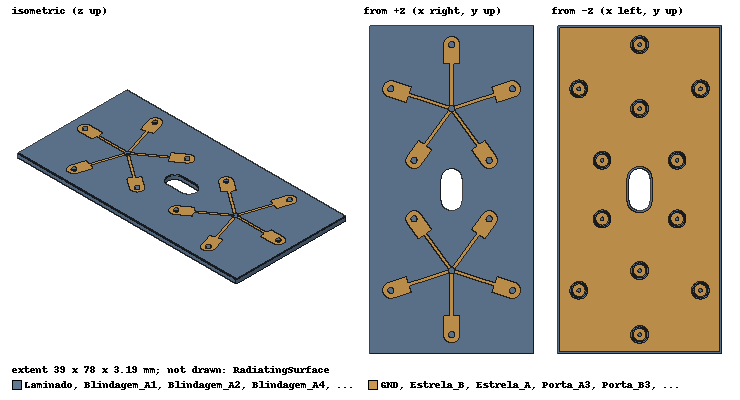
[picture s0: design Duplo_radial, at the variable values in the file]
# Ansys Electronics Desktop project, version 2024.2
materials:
  vacuum: permittivity=1
  ZYF300CA_C: permittivity=2.94 dielectric_loss_tangent=0.0016
  SAC305: permeability=1 conductivity=7575758
  PTFE_UT141: permittivity=2.036 dielectric_loss_tangent=0.0002
  copper: permeability=0.999991 conductivity=58000000
  NiP_estimado: permeability=1 conductivity=1500000
  Ouro_nom: permeability=1 conductivity=41000000
  Cobre_Groiss_equivalente: permeability=1 conductivity=28688604

design Duplo_radial (HFSS, HFSS Hybrid Modal Network, model units mm)
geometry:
  Laminado [ZYF300CA_C] = box(corner=(-19.5mm, -39mm, 0mm), size=(39mm, 78mm, 1.52mm))
  GND = polyline(z=0mm, xy in mm: (-18.98, -38.48) (18.98, -38.48) (18.98, 38.48) (-18.98, 38.48) (-18.98, -38.48), closed, covered)
  Estrela_B = polyline(z=1.52mm, xy in mm: (-7.96633583, 5.2763165) (-8.19346071, 5.16431091) (-8.43326216, 5.08290929) (-8.68163713, 5.03350443) (-8.93433583, 5.01694169) (-9.18703454, 5.03350443) (-9.43540951, 5.08290929) (-9.67521096, 5.16431091) (-9.90233583, 5.2763165) (-10.11289796, 5.41700962) (-10.30329456, 5.58398296) (-10.4702679, 5.77437956) (-10.61096102, 5.98494169) (-10.72296661, 6.21206656) (-10.80436823, 6.45186801) (-10.85377309, 6.70024298) (-10.87033583, 6.95294169) (-10.85377309, 7.20564039) (-10.80436823, 7.45401536) (-10.72296661, 7.69381681) (-10.61096102, 7.92094169) (-10.49844513, 8.08933361) (-10.50059274, 8.09089393) (-7.85732246, 11.72904336) (-6.59242439, 10.81004112) (-0.75612983, 18.84301143) (-0.7945364, 18.92089225) (-0.83069621, 19.02741562) (-0.85213714, 19.13520646) (-10.29426672, 22.20314034) (-10.7774148, 20.71616348) (-15.05431595, 22.1058129) (-15.05308618, 22.10959773) (-15.19693417, 22.15842754) (-15.42405905, 22.27043313) (-15.63462117, 22.41112625) (-15.82501778, 22.57809959) (-15.99199111, 22.76849619) (-16.13268423, 22.97905831) (-16.24468982, 23.20618319) (-16.32609145, 23.44598464) (-16.3754963, 23.69435961) (-16.39205905, 23.94705831) (-16.3754963, 24.19975702) (-16.32609145, 24.44813199) (-16.24468982, 24.68793344) (-16.13268423, 24.91505831) (-15.99199111, 25.12562044) (-15.82501778, 25.31601704) (-15.63462117, 25.48299038) (-15.42405905, 25.6236835) (-15.19693417, 25.73568909) (-14.95713272, 25.81709071) (-14.70875776, 25.86649557) (-14.45605905, 25.88305831) (-14.20336034, 25.86649557) (-13.95498538, 25.81709071) (-13.85903191, 25.7845189) (-13.85780215, 25.78830373) (-9.58090099, 24.39865431) (-10.06404906, 22.91167744) (-0.62098013, 19.84343835) (-0.60811183, 19.85811183) (-0.52353483, 19.93228387) (-0.43, 19.99478185) (-0.3725, 20.02313771) (-0.3725, 29.953) (-1.936, 29.953) (-1.936, 34.45) (-1.91943725, 34.70269871) (-1.8700324, 34.95107367) (-1.78863077, 35.19087513) (-1.67662518, 35.418) (-1.53593207, 35.62856213) (-1.36895873, 35.81895873) (-1.17856213, 35.98593207) (-0.968, 36.12662518) (-0.74087513, 36.23863077) (-0.50107367, 36.3200324) (-0.25269871, 36.36943725) (0, 36.386) (0.25269871, 36.36943725) (0.50107367, 36.3200324) (0.74087513, 36.23863077) (0.968, 36.12662518) (1.17856213, 35.98593207) (1.36895873, 35.81895873) (1.53593207, 35.62856213) (1.67662518, 35.418) (1.78863077, 35.19087513) (1.8700324, 34.95107367) (1.91943725, 34.70269871) (1.936, 34.45) (1.936, 29.953) (0.3725, 29.953) (0.3725, 20.02313771) (0.43, 19.99478185) (0.52353483, 19.93228387) (0.60811183, 19.85811183) (0.62098013, 19.84343835) (10.06404906, 22.91167744) (9.58090099, 24.39865431) (13.85780215, 25.78830373) (13.85903191, 25.7845189) (13.95498538, 25.81709071) (14.20336034, 25.86649557) (14.45605905, 25.88305831) (14.70875776, 25.86649557) (14.95713272, 25.81709071) (15.19693417, 25.73568909) (15.42405905, 25.6236835) (15.63462117, 25.48299038) (15.82501778, 25.31601704) (15.99199111, 25.12562044) (16.13268423, 24.91505831) (16.24468982, 24.68793344) (16.32609145, 24.44813199) (16.3754963, 24.19975702) (16.39205905, 23.94705831) (16.3754963, 23.69435961) (16.32609145, 23.44598464) (16.24468982, 23.20618319) (16.13268423, 22.97905831) (15.99199111, 22.76849619) (15.82501778, 22.57809959) (15.63462117, 22.41112625) (15.42405905, 22.27043313) (15.19693417, 22.15842754) (15.05308618, 22.10959773) (15.05431595, 22.1058129) (10.7774148, 20.71616348) (10.29426672, 22.20314034) (0.85213714, 19.13520646) (0.83069621, 19.02741562) (0.7945364, 18.92089225) (0.75612983, 18.84301143) (6.59242439, 10.81004112) (7.85732246, 11.72904336) (10.50059274, 8.09089393) (10.49844513, 8.08933361) (10.61096102, 7.92094169) (10.72296661, 7.69381681) (10.80436823, 7.45401536) (10.85377309, 7.20564039) (10.87033583, 6.95294169) (10.85377309, 6.70024298) (10.80436823, 6.45186801) (10.72296661, 6.21206656) (10.61096102, 5.98494169) (10.4702679, 5.77437956) (10.30329456, 5.58398296) (10.11289796, 5.41700962) (9.90233583, 5.2763165) (9.67521096, 5.16431091) (9.43540951, 5.08290929) (9.18703454, 5.03350443) (8.93433583, 5.01694169) (8.68163713, 5.03350443) (8.43326216, 5.08290929) (8.19346071, 5.16431091) (7.96633583, 5.2763165) (7.75577371, 5.41700962) (7.56537711, 5.58398296) (7.39840377, 5.77437956) (7.37022654, 5.81654976) (7.36807893, 5.81498944) (4.72480865, 9.45313886) (5.98970672, 10.3721411) (0.15313719, 18.40548989) (0.11225253, 18.39735742) (0, 18.39) (-0.11225253, 18.39735742) (-0.15313719, 18.40548989) (-5.98970672, 10.3721411) (-4.72480865, 9.45313886) (-7.36807893, 5.81498944) (-7.37022654, 5.81654976) (-7.39840377, 5.77437956) (-7.56537711, 5.58398296) (-7.75577371, 5.41700962) (-7.96633583, 5.2763165), closed, covered)
  Estrela_A = polyline(z=1.52mm, xy in mm: (-0.3725, -20.02313771) (-0.43, -19.99478185) (-0.52353483, -19.93228387) (-0.60811183, -19.85811183) (-0.62098013, -19.84343835) (-10.06404906, -22.91167744) (-9.58090099, -24.39865431) (-13.85780215, -25.78830373) (-13.85903191, -25.7845189) (-13.95498538, -25.81709071) (-14.20336034, -25.86649557) (-14.45605905, -25.88305831) (-14.70875776, -25.86649557) (-14.95713272, -25.81709071) (-15.19693417, -25.73568909) (-15.42405905, -25.6236835) (-15.63462117, -25.48299038) (-15.82501778, -25.31601704) (-15.99199111, -25.12562044) (-16.13268423, -24.91505831) (-16.24468982, -24.68793344) (-16.32609145, -24.44813199) (-16.3754963, -24.19975702) (-16.39205905, -23.94705831) (-16.3754963, -23.69435961) (-16.32609145, -23.44598464) (-16.24468982, -23.20618319) (-16.13268423, -22.97905831) (-15.99199111, -22.76849619) (-15.82501778, -22.57809959) (-15.63462117, -22.41112625) (-15.42405905, -22.27043313) (-15.19693417, -22.15842754) (-15.05308618, -22.10959773) (-15.05431595, -22.1058129) (-10.7774148, -20.71616348) (-10.29426672, -22.20314034) (-0.85213714, -19.13520646) (-0.83069621, -19.02741562) (-0.7945364, -18.92089225) (-0.75612983, -18.84301143) (-6.59242439, -10.81004112) (-7.85732246, -11.72904336) (-10.50059274, -8.09089393) (-10.49844513, -8.08933361) (-10.61096102, -7.92094169) (-10.72296661, -7.69381681) (-10.80436823, -7.45401536) (-10.85377309, -7.20564039) (-10.87033583, -6.95294169) (-10.85377309, -6.70024298) (-10.80436823, -6.45186801) (-10.72296661, -6.21206656) (-10.61096102, -5.98494169) (-10.4702679, -5.77437956) (-10.30329456, -5.58398296) (-10.11289796, -5.41700962) (-9.90233583, -5.2763165) (-9.67521096, -5.16431091) (-9.43540951, -5.08290929) (-9.18703454, -5.03350443) (-8.93433583, -5.01694169) (-8.68163713, -5.03350443) (-8.43326216, -5.08290929) (-8.19346071, -5.16431091) (-7.96633583, -5.2763165) (-7.75577371, -5.41700962) (-7.56537711, -5.58398296) (-7.39840377, -5.77437956) (-7.37022654, -5.81654976) (-7.36807893, -5.81498944) (-4.72480865, -9.45313886) (-5.98970672, -10.3721411) (-0.15313719, -18.40548989) (-0.11225253, -18.39735742) (0, -18.39) (0.11225253, -18.39735742) (0.15313719, -18.40548989) (5.98970672, -10.3721411) (4.72480865, -9.45313886) (7.36807893, -5.81498944) (7.37022654, -5.81654976) (7.39840377, -5.77437956) (7.56537711, -5.58398296) (7.75577371, -5.41700962) (7.96633583, -5.2763165) (8.19346071, -5.16431091) (8.43326216, -5.08290929) (8.68163713, -5.03350443) (8.93433583, -5.01694169) (9.18703454, -5.03350443) (9.43540951, -5.08290929) (9.67521096, -5.16431091) (9.90233583, -5.2763165) (10.11289796, -5.41700962) (10.30329456, -5.58398296) (10.4702679, -5.77437956) (10.61096102, -5.98494169) (10.72296661, -6.21206656) (10.80436823, -6.45186801) (10.85377309, -6.70024298) (10.87033583, -6.95294169) (10.85377309, -7.20564039) (10.80436823, -7.45401536) (10.72296661, -7.69381681) (10.61096102, -7.92094169) (10.49844513, -8.08933361) (10.50059274, -8.09089393) (7.85732246, -11.72904336) (6.59242439, -10.81004112) (0.75612983, -18.84301143) (0.7945364, -18.92089225) (0.83069621, -19.02741562) (0.85213714, -19.13520646) (10.29426672, -22.20314034) (10.7774148, -20.71616348) (15.05431595, -22.1058129) (15.05308618, -22.10959773) (15.19693417, -22.15842754) (15.42405905, -22.27043313) (15.63462117, -22.41112625) (15.82501778, -22.57809959) (15.99199111, -22.76849619) (16.13268423, -22.97905831) (16.24468982, -23.20618319) (16.32609145, -23.44598464) (16.3754963, -23.69435961) (16.39205905, -23.94705831) (16.3754963, -24.19975702) (16.32609145, -24.44813199) (16.24468982, -24.68793344) (16.13268423, -24.91505831) (15.99199111, -25.12562044) (15.82501778, -25.31601704) (15.63462117, -25.48299038) (15.42405905, -25.6236835) (15.19693417, -25.73568909) (14.95713272, -25.81709071) (14.70875776, -25.86649557) (14.45605905, -25.88305831) (14.20336034, -25.86649557) (13.95498538, -25.81709071) (13.85903191, -25.7845189) (13.85780215, -25.78830373) (9.58090099, -24.39865431) (10.06404906, -22.91167744) (0.62098013, -19.84343835) (0.60811183, -19.85811183) (0.52353483, -19.93228387) (0.43, -19.99478185) (0.3725, -20.02313771) (0.3725, -29.953) (1.936, -29.953) (1.936, -34.45) (1.91943725, -34.70269871) (1.8700324, -34.95107367) (1.78863077, -35.19087513) (1.67662518, -35.418) (1.53593207, -35.62856213) (1.36895873, -35.81895873) (1.17856213, -35.98593207) (0.968, -36.12662518) (0.74087513, -36.23863077) (0.50107367, -36.3200324) (0.25269871, -36.36943725) (0, -36.386) (-0.25269871, -36.36943725) (-0.50107367, -36.3200324) (-0.74087513, -36.23863077) (-0.968, -36.12662518) (-1.17856213, -35.98593207) (-1.36895873, -35.81895873) (-1.53593207, -35.62856213) (-1.67662518, -35.418) (-1.78863077, -35.19087513) (-1.8700324, -34.95107367) (-1.91943725, -34.70269871) (-1.936, -34.45) (-1.936, -29.953) (-0.3725, -29.953) (-0.3725, -20.02313771), closed, covered)
  Abertura_A_IN = circle(normal=Z, centre=(0mm, -19.25mm, 0mm), radius=1.515mm, segments=24)
  Pino_A_IN [copper] = cylinder(axis=Z, base_centre=(0mm, -19.25mm, 0mm), radius=0.525mm, height=1.52mm, segments=24)
  Anel_A_IN = circle(normal=Z, centre=(0mm, -19.25mm, 0mm), radius=0.73mm, segments=24)
  Blindagem_A_IN [copper] = cylinder(axis=Z, base_centre=(0mm, -19.25mm, -1.5mm), radius=1.7905mm, height=1.5mm, segments=24)
  PTFE_A_IN [PTFE_UT141] = cylinder(axis=Z, base_centre=(0mm, -19.25mm, -1.5mm), radius=1.515mm, height=1.5mm, segments=24)
  PTFE_A_IN_1 = PTFE_A_IN.copy()
  Blindagem_A_IN.subtract(PTFE_A_IN_1)
  Central_A_IN [copper] = cylinder(axis=Z, base_centre=(0mm, -19.25mm, -1.5mm), radius=0.45975mm, height=1.5mm, segments=24)
  Central_A_IN_1 = Central_A_IN.copy()
  PTFE_A_IN.subtract(Central_A_IN_1)
  Solda_ext_A_IN [SAC305] = cylinder(axis=Z, base_centre=(0mm, -19.25mm, -0.18mm), radius=2.13mm, height=0.18mm, segments=24)
  Recorte_ext_A_IN = cylinder(axis=Z, base_centre=(0mm, -19.25mm, -0.18mm), radius=1.7905mm, height=0.18mm, segments=24)
  Solda_ext_A_IN.subtract(Recorte_ext_A_IN)
  Solda_top_A_IN [SAC305] = cylinder(axis=Z, base_centre=(0mm, -19.25mm, 1.52mm), radius=0.74mm, height=0.17mm, segments=24)
  Abertura_A1 = circle(normal=Z, centre=(-14.45605905mm, -23.94705831mm, 0mm), radius=1.515mm, segments=24)
  Pino_A1 [copper] = cylinder(axis=Z, base_centre=(-14.45605905mm, -23.94705831mm, 0mm), radius=0.525mm, height=1.52mm, segments=24)
  Anel_A1 = circle(normal=Z, centre=(-14.45605905mm, -23.94705831mm, 0mm), radius=0.73mm, segments=24)
  Blindagem_A1 [copper] = cylinder(axis=Z, base_centre=(-14.45605905mm, -23.94705831mm, -1.5mm), radius=1.7905mm, height=1.5mm, segments=24)
  PTFE_A1 [PTFE_UT141] = cylinder(axis=Z, base_centre=(-14.45605905mm, -23.94705831mm, -1.5mm), radius=1.515mm, height=1.5mm, segments=24)
  PTFE_A1_1 = PTFE_A1.copy()
  Blindagem_A1.subtract(PTFE_A1_1)
  Central_A1 [copper] = cylinder(axis=Z, base_centre=(-14.45605905mm, -23.94705831mm, -1.5mm), radius=0.45975mm, height=1.5mm, segments=24)
  Central_A1_1 = Central_A1.copy()
  PTFE_A1.subtract(Central_A1_1)
  Solda_ext_A1 [SAC305] = cylinder(axis=Z, base_centre=(-14.45605905mm, -23.94705831mm, -0.18mm), radius=2.13mm, height=0.18mm, segments=24)
  Recorte_ext_A1 = cylinder(axis=Z, base_centre=(-14.45605905mm, -23.94705831mm, -0.18mm), radius=1.7905mm, height=0.18mm, segments=24)
  Solda_ext_A1.subtract(Recorte_ext_A1)
  Solda_top_A1 [SAC305] = cylinder(axis=Z, base_centre=(-14.45605905mm, -23.94705831mm, 1.52mm), radius=0.74mm, height=0.17mm, segments=24)
  Abertura_A2 = circle(normal=Z, centre=(-8.93433583mm, -6.95294169mm, 0mm), radius=1.515mm, segments=24)
  Pino_A2 [copper] = cylinder(axis=Z, base_centre=(-8.93433583mm, -6.95294169mm, 0mm), radius=0.525mm, height=1.52mm, segments=24)
  Anel_A2 = circle(normal=Z, centre=(-8.93433583mm, -6.95294169mm, 0mm), radius=0.73mm, segments=24)
  Blindagem_A2 [copper] = cylinder(axis=Z, base_centre=(-8.93433583mm, -6.95294169mm, -1.5mm), radius=1.7905mm, height=1.5mm, segments=24)
  PTFE_A2 [PTFE_UT141] = cylinder(axis=Z, base_centre=(-8.93433583mm, -6.95294169mm, -1.5mm), radius=1.515mm, height=1.5mm, segments=24)
  PTFE_A2_1 = PTFE_A2.copy()
  Blindagem_A2.subtract(PTFE_A2_1)
  Central_A2 [copper] = cylinder(axis=Z, base_centre=(-8.93433583mm, -6.95294169mm, -1.5mm), radius=0.45975mm, height=1.5mm, segments=24)
  Central_A2_1 = Central_A2.copy()
  PTFE_A2.subtract(Central_A2_1)
  Solda_ext_A2 [SAC305] = cylinder(axis=Z, base_centre=(-8.93433583mm, -6.95294169mm, -0.18mm), radius=2.13mm, height=0.18mm, segments=24)
  Recorte_ext_A2 = cylinder(axis=Z, base_centre=(-8.93433583mm, -6.95294169mm, -0.18mm), radius=1.7905mm, height=0.18mm, segments=24)
  Solda_ext_A2.subtract(Recorte_ext_A2)
  Solda_top_A2 [SAC305] = cylinder(axis=Z, base_centre=(-8.93433583mm, -6.95294169mm, 1.52mm), radius=0.74mm, height=0.17mm, segments=24)
  Abertura_A3 = circle(normal=Z, centre=(0mm, -34.45mm, 0mm), radius=1.515mm, segments=24)
  Pino_A3 [copper] = cylinder(axis=Z, base_centre=(0mm, -34.45mm, 0mm), radius=0.525mm, height=1.52mm, segments=24)
  Anel_A3 = circle(normal=Z, centre=(0mm, -34.45mm, 0mm), radius=0.73mm, segments=24)
  Blindagem_A3 [copper] = cylinder(axis=Z, base_centre=(0mm, -34.45mm, -1.5mm), radius=1.7905mm, height=1.5mm, segments=24)
  PTFE_A3 [PTFE_UT141] = cylinder(axis=Z, base_centre=(0mm, -34.45mm, -1.5mm), radius=1.515mm, height=1.5mm, segments=24)
  PTFE_A3_1 = PTFE_A3.copy()
  Blindagem_A3.subtract(PTFE_A3_1)
  Central_A3 [copper] = cylinder(axis=Z, base_centre=(0mm, -34.45mm, -1.5mm), radius=0.45975mm, height=1.5mm, segments=24)
  Central_A3_1 = Central_A3.copy()
  PTFE_A3.subtract(Central_A3_1)
  Solda_ext_A3 [SAC305] = cylinder(axis=Z, base_centre=(0mm, -34.45mm, -0.18mm), radius=2.13mm, height=0.18mm, segments=24)
  Recorte_ext_A3 = cylinder(axis=Z, base_centre=(0mm, -34.45mm, -0.18mm), radius=1.7905mm, height=0.18mm, segments=24)
  Solda_ext_A3.subtract(Recorte_ext_A3)
  Solda_top_A3 [SAC305] = cylinder(axis=Z, base_centre=(0mm, -34.45mm, 1.52mm), radius=0.74mm, height=0.17mm, segments=24)
  Abertura_A4 = circle(normal=Z, centre=(8.93433583mm, -6.95294169mm, 0mm), radius=1.515mm, segments=24)
  Pino_A4 [copper] = cylinder(axis=Z, base_centre=(8.93433583mm, -6.95294169mm, 0mm), radius=0.525mm, height=1.52mm, segments=24)
  Anel_A4 = circle(normal=Z, centre=(8.93433583mm, -6.95294169mm, 0mm), radius=0.73mm, segments=24)
  Blindagem_A4 [copper] = cylinder(axis=Z, base_centre=(8.93433583mm, -6.95294169mm, -1.5mm), radius=1.7905mm, height=1.5mm, segments=24)
  PTFE_A4 [PTFE_UT141] = cylinder(axis=Z, base_centre=(8.93433583mm, -6.95294169mm, -1.5mm), radius=1.515mm, height=1.5mm, segments=24)
  PTFE_A4_1 = PTFE_A4.copy()
  Blindagem_A4.subtract(PTFE_A4_1)
  Central_A4 [copper] = cylinder(axis=Z, base_centre=(8.93433583mm, -6.95294169mm, -1.5mm), radius=0.45975mm, height=1.5mm, segments=24)
  Central_A4_1 = Central_A4.copy()
  PTFE_A4.subtract(Central_A4_1)
  Solda_ext_A4 [SAC305] = cylinder(axis=Z, base_centre=(8.93433583mm, -6.95294169mm, -0.18mm), radius=2.13mm, height=0.18mm, segments=24)
  Recorte_ext_A4 = cylinder(axis=Z, base_centre=(8.93433583mm, -6.95294169mm, -0.18mm), radius=1.7905mm, height=0.18mm, segments=24)
  Solda_ext_A4.subtract(Recorte_ext_A4)
  Solda_top_A4 [SAC305] = cylinder(axis=Z, base_centre=(8.93433583mm, -6.95294169mm, 1.52mm), radius=0.74mm, height=0.17mm, segments=24)
  Abertura_A5 = circle(normal=Z, centre=(14.45605905mm, -23.94705831mm, 0mm), radius=1.515mm, segments=24)
  Pino_A5 [copper] = cylinder(axis=Z, base_centre=(14.45605905mm, -23.94705831mm, 0mm), radius=0.525mm, height=1.52mm, segments=24)
  Anel_A5 = circle(normal=Z, centre=(14.45605905mm, -23.94705831mm, 0mm), radius=0.73mm, segments=24)
  Blindagem_A5 [copper] = cylinder(axis=Z, base_centre=(14.45605905mm, -23.94705831mm, -1.5mm), radius=1.7905mm, height=1.5mm, segments=24)
  PTFE_A5 [PTFE_UT141] = cylinder(axis=Z, base_centre=(14.45605905mm, -23.94705831mm, -1.5mm), radius=1.515mm, height=1.5mm, segments=24)
  PTFE_A5_1 = PTFE_A5.copy()
  Blindagem_A5.subtract(PTFE_A5_1)
  Central_A5 [copper] = cylinder(axis=Z, base_centre=(14.45605905mm, -23.94705831mm, -1.5mm), radius=0.45975mm, height=1.5mm, segments=24)
  Central_A5_1 = Central_A5.copy()
  PTFE_A5.subtract(Central_A5_1)
  Solda_ext_A5 [SAC305] = cylinder(axis=Z, base_centre=(14.45605905mm, -23.94705831mm, -0.18mm), radius=2.13mm, height=0.18mm, segments=24)
  Recorte_ext_A5 = cylinder(axis=Z, base_centre=(14.45605905mm, -23.94705831mm, -0.18mm), radius=1.7905mm, height=0.18mm, segments=24)
  Solda_ext_A5.subtract(Recorte_ext_A5)
  Solda_top_A5 [SAC305] = cylinder(axis=Z, base_centre=(14.45605905mm, -23.94705831mm, 1.52mm), radius=0.74mm, height=0.17mm, segments=24)
  Abertura_B_IN = circle(normal=Z, centre=(0mm, 19.25mm, 0mm), radius=1.515mm, segments=24)
  Pino_B_IN [copper] = cylinder(axis=Z, base_centre=(0mm, 19.25mm, 0mm), radius=0.525mm, height=1.52mm, segments=24)
  Anel_B_IN = circle(normal=Z, centre=(0mm, 19.25mm, 0mm), radius=0.73mm, segments=24)
  Blindagem_B_IN [copper] = cylinder(axis=Z, base_centre=(0mm, 19.25mm, -1.5mm), radius=1.7905mm, height=1.5mm, segments=24)
  PTFE_B_IN [PTFE_UT141] = cylinder(axis=Z, base_centre=(0mm, 19.25mm, -1.5mm), radius=1.515mm, height=1.5mm, segments=24)
  PTFE_B_IN_1 = PTFE_B_IN.copy()
  Blindagem_B_IN.subtract(PTFE_B_IN_1)
  Central_B_IN [copper] = cylinder(axis=Z, base_centre=(0mm, 19.25mm, -1.5mm), radius=0.45975mm, height=1.5mm, segments=24)
  Central_B_IN_1 = Central_B_IN.copy()
  PTFE_B_IN.subtract(Central_B_IN_1)
  Solda_ext_B_IN [SAC305] = cylinder(axis=Z, base_centre=(0mm, 19.25mm, -0.18mm), radius=2.13mm, height=0.18mm, segments=24)
  Recorte_ext_B_IN = cylinder(axis=Z, base_centre=(0mm, 19.25mm, -0.18mm), radius=1.7905mm, height=0.18mm, segments=24)
  Solda_ext_B_IN.subtract(Recorte_ext_B_IN)
  Solda_top_B_IN [SAC305] = cylinder(axis=Z, base_centre=(0mm, 19.25mm, 1.52mm), radius=0.74mm, height=0.17mm, segments=24)
  Abertura_B1 = circle(normal=Z, centre=(-14.45605905mm, 23.94705831mm, 0mm), radius=1.515mm, segments=24)
  Pino_B1 [copper] = cylinder(axis=Z, base_centre=(-14.45605905mm, 23.94705831mm, 0mm), radius=0.525mm, height=1.52mm, segments=24)
  Anel_B1 = circle(normal=Z, centre=(-14.45605905mm, 23.94705831mm, 0mm), radius=0.73mm, segments=24)
  Blindagem_B1 [copper] = cylinder(axis=Z, base_centre=(-14.45605905mm, 23.94705831mm, -1.5mm), radius=1.7905mm, height=1.5mm, segments=24)
  PTFE_B1 [PTFE_UT141] = cylinder(axis=Z, base_centre=(-14.45605905mm, 23.94705831mm, -1.5mm), radius=1.515mm, height=1.5mm, segments=24)
  PTFE_B1_1 = PTFE_B1.copy()
  Blindagem_B1.subtract(PTFE_B1_1)
  Central_B1 [copper] = cylinder(axis=Z, base_centre=(-14.45605905mm, 23.94705831mm, -1.5mm), radius=0.45975mm, height=1.5mm, segments=24)
  Central_B1_1 = Central_B1.copy()
  PTFE_B1.subtract(Central_B1_1)
  Solda_ext_B1 [SAC305] = cylinder(axis=Z, base_centre=(-14.45605905mm, 23.94705831mm, -0.18mm), radius=2.13mm, height=0.18mm, segments=24)
  Recorte_ext_B1 = cylinder(axis=Z, base_centre=(-14.45605905mm, 23.94705831mm, -0.18mm), radius=1.7905mm, height=0.18mm, segments=24)
  Solda_ext_B1.subtract(Recorte_ext_B1)
  Solda_top_B1 [SAC305] = cylinder(axis=Z, base_centre=(-14.45605905mm, 23.94705831mm, 1.52mm), radius=0.74mm, height=0.17mm, segments=24)
  Abertura_B2 = circle(normal=Z, centre=(-8.93433583mm, 6.95294169mm, 0mm), radius=1.515mm, segments=24)
  Pino_B2 [copper] = cylinder(axis=Z, base_centre=(-8.93433583mm, 6.95294169mm, 0mm), radius=0.525mm, height=1.52mm, segments=24)
  Anel_B2 = circle(normal=Z, centre=(-8.93433583mm, 6.95294169mm, 0mm), radius=0.73mm, segments=24)
  Blindagem_B2 [copper] = cylinder(axis=Z, base_centre=(-8.93433583mm, 6.95294169mm, -1.5mm), radius=1.7905mm, height=1.5mm, segments=24)
  PTFE_B2 [PTFE_UT141] = cylinder(axis=Z, base_centre=(-8.93433583mm, 6.95294169mm, -1.5mm), radius=1.515mm, height=1.5mm, segments=24)
  PTFE_B2_1 = PTFE_B2.copy()
  Blindagem_B2.subtract(PTFE_B2_1)
  Central_B2 [copper] = cylinder(axis=Z, base_centre=(-8.93433583mm, 6.95294169mm, -1.5mm), radius=0.45975mm, height=1.5mm, segments=24)
  Central_B2_1 = Central_B2.copy()
  PTFE_B2.subtract(Central_B2_1)
  Solda_ext_B2 [SAC305] = cylinder(axis=Z, base_centre=(-8.93433583mm, 6.95294169mm, -0.18mm), radius=2.13mm, height=0.18mm, segments=24)
  Recorte_ext_B2 = cylinder(axis=Z, base_centre=(-8.93433583mm, 6.95294169mm, -0.18mm), radius=1.7905mm, height=0.18mm, segments=24)
  Solda_ext_B2.subtract(Recorte_ext_B2)
  Solda_top_B2 [SAC305] = cylinder(axis=Z, base_centre=(-8.93433583mm, 6.95294169mm, 1.52mm), radius=0.74mm, height=0.17mm, segments=24)
  Abertura_B3 = circle(normal=Z, centre=(0mm, 34.45mm, 0mm), radius=1.515mm, segments=24)
  Pino_B3 [copper] = cylinder(axis=Z, base_centre=(0mm, 34.45mm, 0mm), radius=0.525mm, height=1.52mm, segments=24)
  Anel_B3 = circle(normal=Z, centre=(0mm, 34.45mm, 0mm), radius=0.73mm, segments=24)
  Blindagem_B3 [copper] = cylinder(axis=Z, base_centre=(0mm, 34.45mm, -1.5mm), radius=1.7905mm, height=1.5mm, segments=24)
  PTFE_B3 [PTFE_UT141] = cylinder(axis=Z, base_centre=(0mm, 34.45mm, -1.5mm), radius=1.515mm, height=1.5mm, segments=24)
  PTFE_B3_1 = PTFE_B3.copy()
  Blindagem_B3.subtract(PTFE_B3_1)
  Central_B3 [copper] = cylinder(axis=Z, base_centre=(0mm, 34.45mm, -1.5mm), radius=0.45975mm, height=1.5mm, segments=24)
  Central_B3_1 = Central_B3.copy()
  PTFE_B3.subtract(Central_B3_1)
  Solda_ext_B3 [SAC305] = cylinder(axis=Z, base_centre=(0mm, 34.45mm, -0.18mm), radius=2.13mm, height=0.18mm, segments=24)
  Recorte_ext_B3 = cylinder(axis=Z, base_centre=(0mm, 34.45mm, -0.18mm), radius=1.7905mm, height=0.18mm, segments=24)
  Solda_ext_B3.subtract(Recorte_ext_B3)
  Solda_top_B3 [SAC305] = cylinder(axis=Z, base_centre=(0mm, 34.45mm, 1.52mm), radius=0.74mm, height=0.17mm, segments=24)
  Abertura_B4 = circle(normal=Z, centre=(8.93433583mm, 6.95294169mm, 0mm), radius=1.515mm, segments=24)
  Pino_B4 [copper] = cylinder(axis=Z, base_centre=(8.93433583mm, 6.95294169mm, 0mm), radius=0.525mm, height=1.52mm, segments=24)
  Anel_B4 = circle(normal=Z, centre=(8.93433583mm, 6.95294169mm, 0mm), radius=0.73mm, segments=24)
  Blindagem_B4 [copper] = cylinder(axis=Z, base_centre=(8.93433583mm, 6.95294169mm, -1.5mm), radius=1.7905mm, height=1.5mm, segments=24)
  PTFE_B4 [PTFE_UT141] = cylinder(axis=Z, base_centre=(8.93433583mm, 6.95294169mm, -1.5mm), radius=1.515mm, height=1.5mm, segments=24)
  PTFE_B4_1 = PTFE_B4.copy()
  Blindagem_B4.subtract(PTFE_B4_1)
  Central_B4 [copper] = cylinder(axis=Z, base_centre=(8.93433583mm, 6.95294169mm, -1.5mm), radius=0.45975mm, height=1.5mm, segments=24)
  Central_B4_1 = Central_B4.copy()
  PTFE_B4.subtract(Central_B4_1)
  Solda_ext_B4 [SAC305] = cylinder(axis=Z, base_centre=(8.93433583mm, 6.95294169mm, -0.18mm), radius=2.13mm, height=0.18mm, segments=24)
  Recorte_ext_B4 = cylinder(axis=Z, base_centre=(8.93433583mm, 6.95294169mm, -0.18mm), radius=1.7905mm, height=0.18mm, segments=24)
  Solda_ext_B4.subtract(Recorte_ext_B4)
  Solda_top_B4 [SAC305] = cylinder(axis=Z, base_centre=(8.93433583mm, 6.95294169mm, 1.52mm), radius=0.74mm, height=0.17mm, segments=24)
  Abertura_B5 = circle(normal=Z, centre=(14.45605905mm, 23.94705831mm, 0mm), radius=1.515mm, segments=24)
  Pino_B5 [copper] = cylinder(axis=Z, base_centre=(14.45605905mm, 23.94705831mm, 0mm), radius=0.525mm, height=1.52mm, segments=24)
  Anel_B5 = circle(normal=Z, centre=(14.45605905mm, 23.94705831mm, 0mm), radius=0.73mm, segments=24)
  Blindagem_B5 [copper] = cylinder(axis=Z, base_centre=(14.45605905mm, 23.94705831mm, -1.5mm), radius=1.7905mm, height=1.5mm, segments=24)
  PTFE_B5 [PTFE_UT141] = cylinder(axis=Z, base_centre=(14.45605905mm, 23.94705831mm, -1.5mm), radius=1.515mm, height=1.5mm, segments=24)
  PTFE_B5_1 = PTFE_B5.copy()
  Blindagem_B5.subtract(PTFE_B5_1)
  Central_B5 [copper] = cylinder(axis=Z, base_centre=(14.45605905mm, 23.94705831mm, -1.5mm), radius=0.45975mm, height=1.5mm, segments=24)
  Central_B5_1 = Central_B5.copy()
  PTFE_B5.subtract(Central_B5_1)
  Solda_ext_B5 [SAC305] = cylinder(axis=Z, base_centre=(14.45605905mm, 23.94705831mm, -0.18mm), radius=2.13mm, height=0.18mm, segments=24)
  Recorte_ext_B5 = cylinder(axis=Z, base_centre=(14.45605905mm, 23.94705831mm, -0.18mm), radius=1.7905mm, height=0.18mm, segments=24)
  Solda_ext_B5.subtract(Recorte_ext_B5)
  Solda_top_B5 [SAC305] = cylinder(axis=Z, base_centre=(14.45605905mm, 23.94705831mm, 1.52mm), radius=0.74mm, height=0.17mm, segments=24)
  GND.subtract(Abertura_A_IN, Abertura_A1..Abertura_A5, Abertura_B_IN, Abertura_B1..Abertura_B5)
  Pino_A_IN_1 = Pino_A_IN.copy()
  Pino_A1_1 = Pino_A1.copy()
  Pino_A2_1 = Pino_A2.copy()
  Pino_A3_1 = Pino_A3.copy()
  Pino_A4_1 = Pino_A4.copy()
  Pino_A5_1 = Pino_A5.copy()
  Pino_B_IN_1 = Pino_B_IN.copy()
  Pino_B1_1 = Pino_B1.copy()
  Pino_B2_1 = Pino_B2.copy()
  Pino_B3_1 = Pino_B3.copy()
  Pino_B4_1 = Pino_B4.copy()
  Pino_B5_1 = Pino_B5.copy()
  Laminado.subtract(Pino_A_IN_1, Pino_A1_1, Pino_A2_1, Pino_A3_1, Pino_A4_1, Pino_A5_1, Pino_B_IN_1, Pino_B1_1, Pino_B2_1, Pino_B3_1, Pino_B4_1, Pino_B5_1)
  Canal_mecanico = polyline(z=0mm, xy in mm: (-2.5, 2.50916841) (-2.48796182, 2.75421126) (-2.4519632, 2.99689422) (-2.39235084, 3.23488011) (-2.30969883, 3.46587699) (-2.20480316, 3.68766026) (-2.07867403, 3.898094) (-1.93252613, 4.09515162) (-1.76776695, 4.27693537) (-1.58598321, 4.44169455) (-1.38892558, 4.58784244) (-1.17849184, 4.71397157) (-0.95670858, 4.81886724) (-0.72571169, 4.90151925) (-0.48772581, 4.96113161) (-0.24504285, 4.99713023) (0, 5.00916841) (0.24504285, 4.99713023) (0.48772581, 4.96113161) (0.72571169, 4.90151925) (0.95670858, 4.81886724) (1.17849184, 4.71397157) (1.38892558, 4.58784244) (1.58598321, 4.44169455) (1.76776695, 4.27693537) (1.93252613, 4.09515162) (2.07867403, 3.898094) (2.20480316, 3.68766026) (2.30969883, 3.46587699) (2.39235084, 3.23488011) (2.4519632, 2.99689422) (2.48796182, 2.75421126) (2.5, 2.50916841) (2.5, -2.50916841) (2.48796182, -2.75421126) (2.4519632, -2.99689422) (2.39235084, -3.23488011) (2.30969883, -3.46587699) (2.20480316, -3.68766026) (2.07867403, -3.898094) (1.93252613, -4.09515162) (1.76776695, -4.27693537) (1.58598321, -4.44169455) (1.38892558, -4.58784244) (1.17849184, -4.71397157) (0.95670858, -4.81886724) (0.72571169, -4.90151925) (0.48772581, -4.96113161) (0.24504285, -4.99713023) (0, -5.00916841) (-0.24504285, -4.99713023) (-0.48772581, -4.96113161) (-0.72571169, -4.90151925) (-0.95670858, -4.81886724) (-1.17849184, -4.71397157) (-1.38892558, -4.58784244) (-1.58598321, -4.44169455) (-1.76776695, -4.27693537) (-1.93252613, -4.09515162) (-2.07867403, -3.898094) (-2.20480316, -3.68766026) (-2.30969883, -3.46587699) (-2.39235084, -3.23488011) (-2.4519632, -2.99689422) (-2.48796182, -2.75421126) (-2.5, -2.50916841) (-2.5, 2.50916841), closed, covered)
  Canal_mecanico.sweep_along_vector((0mm, 0mm, 1.52mm))
  Laminado.subtract(Canal_mecanico)
  Folga_massa = polyline(z=0mm, xy in mm: (-3, 2.50916841) (-2.98555418, 2.80321983) (-2.94235584, 3.09443938) (-2.87082101, 3.38002244) (-2.7716386, 3.65721871) (-2.64576379, 3.92335862) (-2.49440884, 4.17587911) (-2.31903136, 4.41234827) (-2.12132034, 4.63048876) (-1.90317985, 4.82819977) (-1.6667107, 5.00357725) (-1.41419021, 5.15493221) (-1.1480503, 5.28080701) (-0.87085403, 5.37998942) (-0.58527097, 5.45152425) (-0.29405142, 5.49472259) (0, 5.50916841) (0.29405142, 5.49472259) (0.58527097, 5.45152425) (0.87085403, 5.37998942) (1.1480503, 5.28080701) (1.41419021, 5.15493221) (1.6667107, 5.00357725) (1.90317985, 4.82819977) (2.12132034, 4.63048876) (2.31903136, 4.41234827) (2.49440884, 4.17587911) (2.64576379, 3.92335862) (2.7716386, 3.65721871) (2.87082101, 3.38002244) (2.94235584, 3.09443938) (2.98555418, 2.80321983) (3, 2.50916841) (3, -2.50916841) (2.98555418, -2.80321983) (2.94235584, -3.09443938) (2.87082101, -3.38002244) (2.7716386, -3.65721871) (2.64576379, -3.92335862) (2.49440884, -4.17587911) (2.31903136, -4.41234827) (2.12132034, -4.63048876) (1.90317985, -4.82819977) (1.6667107, -5.00357725) (1.41419021, -5.15493221) (1.1480503, -5.28080701) (0.87085403, -5.37998942) (0.58527097, -5.45152425) (0.29405142, -5.49472259) (0, -5.50916841) (-0.29405142, -5.49472259) (-0.58527097, -5.45152425) (-0.87085403, -5.37998942) (-1.1480503, -5.28080701) (-1.41419021, -5.15493221) (-1.6667107, -5.00357725) (-1.90317985, -4.82819977) (-2.12132034, -4.63048876) (-2.31903136, -4.41234827) (-2.49440884, -4.17587911) (-2.64576379, -3.92335862) (-2.7716386, -3.65721871) (-2.87082101, -3.38002244) (-2.94235584, -3.09443938) (-2.98555418, -2.80321983) (-3, -2.50916841) (-3, 2.50916841), closed, covered)
  GND.subtract(Folga_massa)
  Porta_A_IN = circle(normal=Z, centre=(0mm, -19.25mm, -1.5mm), radius=1.515mm, segments=24)
  Buraco_A_IN = circle(normal=Z, centre=(0mm, -19.25mm, -1.5mm), radius=0.45975mm, segments=24)
  Porta_A_IN.subtract(Buraco_A_IN)
  Porta_A1 = circle(normal=Z, centre=(-14.45605905mm, -23.94705831mm, -1.5mm), radius=1.515mm, segments=24)
  Buraco_A1 = circle(normal=Z, centre=(-14.45605905mm, -23.94705831mm, -1.5mm), radius=0.45975mm, segments=24)
  Porta_A1.subtract(Buraco_A1)
  Porta_A2 = circle(normal=Z, centre=(-8.93433583mm, -6.95294169mm, -1.5mm), radius=1.515mm, segments=24)
  Buraco_A2 = circle(normal=Z, centre=(-8.93433583mm, -6.95294169mm, -1.5mm), radius=0.45975mm, segments=24)
  Porta_A2.subtract(Buraco_A2)
  Porta_A3 = circle(normal=Z, centre=(0mm, -34.45mm, -1.5mm), radius=1.515mm, segments=24)
  Buraco_A3 = circle(normal=Z, centre=(0mm, -34.45mm, -1.5mm), radius=0.45975mm, segments=24)
  Porta_A3.subtract(Buraco_A3)
  Porta_A4 = circle(normal=Z, centre=(8.93433583mm, -6.95294169mm, -1.5mm), radius=1.515mm, segments=24)
  Buraco_A4 = circle(normal=Z, centre=(8.93433583mm, -6.95294169mm, -1.5mm), radius=0.45975mm, segments=24)
  Porta_A4.subtract(Buraco_A4)
  Porta_A5 = circle(normal=Z, centre=(14.45605905mm, -23.94705831mm, -1.5mm), radius=1.515mm, segments=24)
  Buraco_A5 = circle(normal=Z, centre=(14.45605905mm, -23.94705831mm, -1.5mm), radius=0.45975mm, segments=24)
  Porta_A5.subtract(Buraco_A5)
  Porta_B_IN = circle(normal=Z, centre=(0mm, 19.25mm, -1.5mm), radius=1.515mm, segments=24)
  Buraco_B_IN = circle(normal=Z, centre=(0mm, 19.25mm, -1.5mm), radius=0.45975mm, segments=24)
  Porta_B_IN.subtract(Buraco_B_IN)
  Porta_B1 = circle(normal=Z, centre=(-14.45605905mm, 23.94705831mm, -1.5mm), radius=1.515mm, segments=24)
  Buraco_B1 = circle(normal=Z, centre=(-14.45605905mm, 23.94705831mm, -1.5mm), radius=0.45975mm, segments=24)
  Porta_B1.subtract(Buraco_B1)
  Porta_B2 = circle(normal=Z, centre=(-8.93433583mm, 6.95294169mm, -1.5mm), radius=1.515mm, segments=24)
  Buraco_B2 = circle(normal=Z, centre=(-8.93433583mm, 6.95294169mm, -1.5mm), radius=0.45975mm, segments=24)
  Porta_B2.subtract(Buraco_B2)
  Porta_B3 = circle(normal=Z, centre=(0mm, 34.45mm, -1.5mm), radius=1.515mm, segments=24)
  Buraco_B3 = circle(normal=Z, centre=(0mm, 34.45mm, -1.5mm), radius=0.45975mm, segments=24)
  Porta_B3.subtract(Buraco_B3)
  Porta_B4 = circle(normal=Z, centre=(8.93433583mm, 6.95294169mm, -1.5mm), radius=1.515mm, segments=24)
  Buraco_B4 = circle(normal=Z, centre=(8.93433583mm, 6.95294169mm, -1.5mm), radius=0.45975mm, segments=24)
  Porta_B4.subtract(Buraco_B4)
  Porta_B5 = circle(normal=Z, centre=(14.45605905mm, 23.94705831mm, -1.5mm), radius=1.515mm, segments=24)
  Buraco_B5 = circle(normal=Z, centre=(14.45605905mm, 23.94705831mm, -1.5mm), radius=0.45975mm, segments=24)
  Porta_B5.subtract(Buraco_B5)
  RadiatingSurface [vacuum] = region(absolute_offset=19.646365mm on all sides)
  Recorte_ENIG_GND_A_IN = circle(normal=Z, centre=(0mm, -19.25mm, 0mm), radius=2.13mm, segments=24)
  GND.subtract(Recorte_ENIG_GND_A_IN)
  Recorte_ENIG_Anel_A_IN_A_IN = circle(normal=Z, centre=(0mm, -19.25mm, 0mm), radius=0.525mm, segments=24)
  Anel_A_IN.subtract(Recorte_ENIG_Anel_A_IN_A_IN)
  Recorte_ENIG_Estrela_A_A_IN = circle(normal=Z, centre=(0mm, -19.25mm, 1.52mm), radius=0.74mm, segments=24)
  Estrela_A.subtract(Recorte_ENIG_Estrela_A_A_IN)
  Recorte_ENIG_GND_A1 = circle(normal=Z, centre=(-14.456059mm, -23.947058mm, 0mm), radius=2.13mm, segments=24)
  GND.subtract(Recorte_ENIG_GND_A1)
  Recorte_ENIG_Anel_A1_A1 = circle(normal=Z, centre=(-14.456059mm, -23.947058mm, 0mm), radius=0.525mm, segments=24)
  Anel_A1.subtract(Recorte_ENIG_Anel_A1_A1)
  Recorte_ENIG_Estrela_A_A1 = circle(normal=Z, centre=(-14.456059mm, -23.947058mm, 1.52mm), radius=0.74mm, segments=24)
  Estrela_A.subtract(Recorte_ENIG_Estrela_A_A1)
  Recorte_ENIG_GND_A2 = circle(normal=Z, centre=(-8.9343358mm, -6.9529417mm, 0mm), radius=2.13mm, segments=24)
  GND.subtract(Recorte_ENIG_GND_A2)
  Recorte_ENIG_Anel_A2_A2 = circle(normal=Z, centre=(-8.9343358mm, -6.9529417mm, 0mm), radius=0.525mm, segments=24)
  Anel_A2.subtract(Recorte_ENIG_Anel_A2_A2)
  Recorte_ENIG_Estrela_A_A2 = circle(normal=Z, centre=(-8.9343358mm, -6.9529417mm, 1.52mm), radius=0.74mm, segments=24)
  Estrela_A.subtract(Recorte_ENIG_Estrela_A_A2)
  Recorte_ENIG_GND_A3 = circle(normal=Z, centre=(9.3073157e-16mm, -34.45mm, 0mm), radius=2.13mm, segments=24)
  GND.subtract(Recorte_ENIG_GND_A3)
  Recorte_ENIG_Anel_A3_A3 = circle(normal=Z, centre=(9.3073157e-16mm, -34.45mm, 0mm), radius=0.525mm, segments=24)
  Anel_A3.subtract(Recorte_ENIG_Anel_A3_A3)
  Recorte_ENIG_Estrela_A_A3 = circle(normal=Z, centre=(9.3073157e-16mm, -34.45mm, 1.52mm), radius=0.74mm, segments=24)
  Estrela_A.subtract(Recorte_ENIG_Estrela_A_A3)
  Recorte_ENIG_GND_A4 = circle(normal=Z, centre=(8.9343358mm, -6.9529417mm, 0mm), radius=2.13mm, segments=24)
  GND.subtract(Recorte_ENIG_GND_A4)
  Recorte_ENIG_Anel_A4_A4 = circle(normal=Z, centre=(8.9343358mm, -6.9529417mm, 0mm), radius=0.525mm, segments=24)
  Anel_A4.subtract(Recorte_ENIG_Anel_A4_A4)
  Recorte_ENIG_Estrela_A_A4 = circle(normal=Z, centre=(8.9343358mm, -6.9529417mm, 1.52mm), radius=0.74mm, segments=24)
  Estrela_A.subtract(Recorte_ENIG_Estrela_A_A4)
  Recorte_ENIG_GND_A5 = circle(normal=Z, centre=(14.456059mm, -23.947058mm, 0mm), radius=2.13mm, segments=24)
  GND.subtract(Recorte_ENIG_GND_A5)
  Recorte_ENIG_Anel_A5_A5 = circle(normal=Z, centre=(14.456059mm, -23.947058mm, 0mm), radius=0.525mm, segments=24)
  Anel_A5.subtract(Recorte_ENIG_Anel_A5_A5)
  Recorte_ENIG_Estrela_A_A5 = circle(normal=Z, centre=(14.456059mm, -23.947058mm, 1.52mm), radius=0.74mm, segments=24)
  Estrela_A.subtract(Recorte_ENIG_Estrela_A_A5)
  Recorte_ENIG_GND_B_IN = circle(normal=Z, centre=(0mm, 19.25mm, 0mm), radius=2.13mm, segments=24)
  GND.subtract(Recorte_ENIG_GND_B_IN)
  Recorte_ENIG_Anel_B_IN_B_IN = circle(normal=Z, centre=(0mm, 19.25mm, 0mm), radius=0.525mm, segments=24)
  Anel_B_IN.subtract(Recorte_ENIG_Anel_B_IN_B_IN)
  Recorte_ENIG_Estrela_B_B_IN = circle(normal=Z, centre=(0mm, 19.25mm, 1.52mm), radius=0.74mm, segments=24)
  Estrela_B.subtract(Recorte_ENIG_Estrela_B_B_IN)
  Recorte_ENIG_GND_B1 = circle(normal=Z, centre=(-14.456059mm, 23.947058mm, 0mm), radius=2.13mm, segments=24)
  GND.subtract(Recorte_ENIG_GND_B1)
  Recorte_ENIG_Anel_B1_B1 = circle(normal=Z, centre=(-14.456059mm, 23.947058mm, 0mm), radius=0.525mm, segments=24)
  Anel_B1.subtract(Recorte_ENIG_Anel_B1_B1)
  Recorte_ENIG_Estrela_B_B1 = circle(normal=Z, centre=(-14.456059mm, 23.947058mm, 1.52mm), radius=0.74mm, segments=24)
  Estrela_B.subtract(Recorte_ENIG_Estrela_B_B1)
  Recorte_ENIG_GND_B2 = circle(normal=Z, centre=(-8.9343358mm, 6.9529417mm, 0mm), radius=2.13mm, segments=24)
  GND.subtract(Recorte_ENIG_GND_B2)
  Recorte_ENIG_Anel_B2_B2 = circle(normal=Z, centre=(-8.9343358mm, 6.9529417mm, 0mm), radius=0.525mm, segments=24)
  Anel_B2.subtract(Recorte_ENIG_Anel_B2_B2)
  Recorte_ENIG_Estrela_B_B2 = circle(normal=Z, centre=(-8.9343358mm, 6.9529417mm, 1.52mm), radius=0.74mm, segments=24)
  Estrela_B.subtract(Recorte_ENIG_Estrela_B_B2)
  Recorte_ENIG_GND_B3 = circle(normal=Z, centre=(9.3073157e-16mm, 34.45mm, 0mm), radius=2.13mm, segments=24)
  GND.subtract(Recorte_ENIG_GND_B3)
  Recorte_ENIG_Anel_B3_B3 = circle(normal=Z, centre=(9.3073157e-16mm, 34.45mm, 0mm), radius=0.525mm, segments=24)
  Anel_B3.subtract(Recorte_ENIG_Anel_B3_B3)
  Recorte_ENIG_Estrela_B_B3 = circle(normal=Z, centre=(9.3073157e-16mm, 34.45mm, 1.52mm), radius=0.74mm, segments=24)
  Estrela_B.subtract(Recorte_ENIG_Estrela_B_B3)
  Recorte_ENIG_GND_B4 = circle(normal=Z, centre=(8.9343358mm, 6.9529417mm, 0mm), radius=2.13mm, segments=24)
  GND.subtract(Recorte_ENIG_GND_B4)
  Recorte_ENIG_Anel_B4_B4 = circle(normal=Z, centre=(8.9343358mm, 6.9529417mm, 0mm), radius=0.525mm, segments=24)
  Anel_B4.subtract(Recorte_ENIG_Anel_B4_B4)
  Recorte_ENIG_Estrela_B_B4 = circle(normal=Z, centre=(8.9343358mm, 6.9529417mm, 1.52mm), radius=0.74mm, segments=24)
  Estrela_B.subtract(Recorte_ENIG_Estrela_B_B4)
  Recorte_ENIG_GND_B5 = circle(normal=Z, centre=(14.456059mm, 23.947058mm, 0mm), radius=2.13mm, segments=24)
  GND.subtract(Recorte_ENIG_GND_B5)
  Recorte_ENIG_Anel_B5_B5 = circle(normal=Z, centre=(14.456059mm, 23.947058mm, 0mm), radius=0.525mm, segments=24)
  Anel_B5.subtract(Recorte_ENIG_Anel_B5_B5)
  Recorte_ENIG_Estrela_B_B5 = circle(normal=Z, centre=(14.456059mm, 23.947058mm, 1.52mm), radius=0.74mm, segments=24)
  Estrela_B.subtract(Recorte_ENIG_Estrela_B_B5)
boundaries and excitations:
  Open1: Radiation Objects=RadiatingSurface
  ENIG_inverso: Layered Impedance Objects=[GND, Estrela_B, Estrela_A, Anel_A_IN, Anel_A1..Anel_A5, Anel_B_IN, Anel_B1..Anel_B5] Frequency=0GHz IsTwoSided IsShellElement Layers{Layer1{Thickness=35um Material=Cobre_Groiss_equivalente} Layer2{Thickness=4.5um Material=NiP_estimado} Layer3{Thickness=0.0254um Material=Ouro_nom}}
  A_IN: Lumped Port Objects=Porta_A_IN LumpedPortType=Modal Modes{Mode1{IntLine{(0.45975, -19.25, -1.5) -> (1.515, -19.25, -1.5)} CharImp=Zpi RenormImp=50ohm}} Impedance=50ohm
  A1: Lumped Port Objects=Porta_A1 LumpedPortType=Modal Modes{Mode1{IntLine{(-13.99630905, -23.94705831, -1.5) -> (-12.94105905, -23.94705831, -1.5)} CharImp=Zpi RenormImp=50ohm}} Impedance=50ohm
  A2: Lumped Port Objects=Porta_A2 LumpedPortType=Modal Modes{Mode1{IntLine{(-8.47458583, -6.95294169, -1.5) -> (-7.41933583, -6.95294169, -1.5)} CharImp=Zpi RenormImp=50ohm}} Impedance=50ohm
  A3: Lumped Port Objects=Porta_A3 LumpedPortType=Modal Modes{Mode1{IntLine{(0.45975, -34.45, -1.5) -> (1.515, -34.45, -1.5)} CharImp=Zpi RenormImp=50ohm}} Impedance=50ohm
  A4: Lumped Port Objects=Porta_A4 LumpedPortType=Modal Modes{Mode1{IntLine{(9.39408583, -6.95294169, -1.5) -> (10.44933583, -6.95294169, -1.5)} CharImp=Zpi RenormImp=50ohm}} Impedance=50ohm
  A5: Lumped Port Objects=Porta_A5 LumpedPortType=Modal Modes{Mode1{IntLine{(14.91580905, -23.94705831, -1.5) -> (15.97105905, -23.94705831, -1.5)} CharImp=Zpi RenormImp=50ohm}} Impedance=50ohm
  B_IN: Lumped Port Objects=Porta_B_IN LumpedPortType=Modal Modes{Mode1{IntLine{(0.45975, 19.25, -1.5) -> (1.515, 19.25, -1.5)} CharImp=Zpi RenormImp=50ohm}} Impedance=50ohm
  B1: Lumped Port Objects=Porta_B1 LumpedPortType=Modal Modes{Mode1{IntLine{(-13.99630905, 23.94705831, -1.5) -> (-12.94105905, 23.94705831, -1.5)} CharImp=Zpi RenormImp=50ohm}} Impedance=50ohm
  B2: Lumped Port Objects=Porta_B2 LumpedPortType=Modal Modes{Mode1{IntLine{(-8.47458583, 6.95294169, -1.5) -> (-7.41933583, 6.95294169, -1.5)} CharImp=Zpi RenormImp=50ohm}} Impedance=50ohm
  B3: Lumped Port Objects=Porta_B3 LumpedPortType=Modal Modes{Mode1{IntLine{(0.45975, 34.45, -1.5) -> (1.515, 34.45, -1.5)} CharImp=Zpi RenormImp=50ohm}} Impedance=50ohm
  B4: Lumped Port Objects=Porta_B4 LumpedPortType=Modal Modes{Mode1{IntLine{(9.39408583, 6.95294169, -1.5) -> (10.44933583, 6.95294169, -1.5)} CharImp=Zpi RenormImp=50ohm}} Impedance=50ohm
  B5: Lumped Port Objects=Porta_B5 LumpedPortType=Modal Modes{Mode1{IntLine{(14.91580905, 23.94705831, -1.5) -> (15.97105905, 23.94705831, -1.5)} CharImp=Zpi RenormImp=50ohm}} Impedance=50ohm
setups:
  Divisor: HfssDriven Frequency=5.17GHz MaxDeltaS=0.012 MaximumPasses=16 MinimumPasses=3 MinimumConvergedPasses=2 PercentRefinement=24 BasisOrder=1 PortAccuracy=2 DrivenSolverType="Direct Solver"
    sweep Banda: 5090MHz to 5250MHz step 10MHz; Type=Discrete
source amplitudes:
  A_IN:1: 1W 0deg
  A1:1, A2:1, A3:1, A4:1, A5:1, B_IN:1, B1:1, B2:1, B3:1, B4:1, B5:1: 0W 0deg
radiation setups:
  3D: Infinite Sphere Theta=0deg..180deg step 2deg Phi=-180deg..180deg step 2deg
  Elevation: Infinite Sphere Theta=-180deg..180deg step 1deg Phi=0deg..90deg step 90deg
  Azimuth: Infinite Sphere Theta=90deg..90deg step 0deg Phi=-180deg..180deg step 1deg
